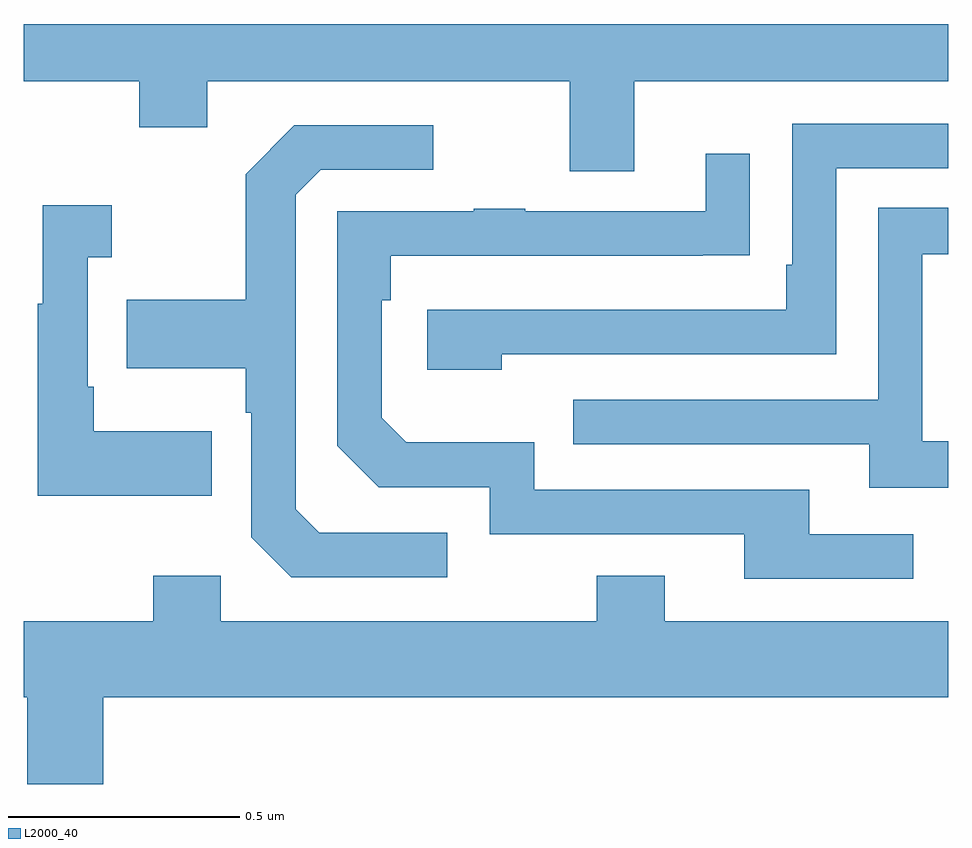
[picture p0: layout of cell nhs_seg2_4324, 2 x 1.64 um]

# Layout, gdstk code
import gdstk
lib = gdstk.Library(unit=1e-6, precision=1e-09)
def P(c, l, *ps):  # polygons
    for p in ps: c.add(gdstk.Polygon(p, *l))
L2000_40 = (2000, 40)

nhs_seg2_4324 = lib.new_cell('nhs_seg2_4324')
P(nhs_seg2_4324, L2000_40, [(166.321,607.676),(167,607.676),(167,607.8),(165,607.8),(165,607.676),(165.25,607.676),(165.25,607.577),(165.397,607.577),(165.397,607.676),(166.181,607.676),(166.181,607.482),(166.321,607.482)],
  [(166.034,607.086),(166.758,607.086),(166.758,607.488),(167,607.488),(167,607.584),(166.662,607.584),(166.662,607.279),(166.649,607.279),(166.649,607.182),(165.873,607.182),(165.873,607.052),(166.034,607.052)],
  [(165.916,606.699),(165.639,606.699),(165.588,606.75),(165.588,607.431),(165.642,607.485),(165.886,607.485),(165.886,607.581),(165.585,607.581),(165.48,607.475),(165.48,607.203),(165.223,607.203),(165.223,607.055),(165.48,607.055),(165.48,606.959),(165.492,606.959),(165.492,606.69),(165.579,606.603),(165.916,606.603)],
  [(166.924,606.696),(166.699,606.696),(166.699,606.792),(166.104,606.792),(166.104,606.895),(165.827,606.895),(165.774,606.948),(165.774,607.202),(165.794,607.202),(165.794,607.299),(166.469,607.299),(166.469,607.3),(166.571,607.3),(166.571,607.519),(166.475,607.519),(166.475,607.395),(166.085,607.395),(166.085,607.4),(165.973,607.4),(165.973,607.395),(165.678,607.395),(165.678,606.888),(165.768,606.798),(166.008,606.798),(166.008,606.696),(166.559,606.696),(166.559,606.6),(166.924,606.6)],
  [(165.407,606.919),(165.151,606.919),(165.151,607.015),(165.138,607.015),(165.138,607.295),(165.19,607.295),(165.19,607.408),(165.041,607.408),(165.041,607.195),(165.03,607.195),(165.03,606.779),(165.407,606.779)],
  [(167,606.897),(166.944,606.897),(166.944,607.302),(167,607.302),(167,607.403),(166.848,607.403),(166.848,606.987),(166.189,606.987),(166.189,606.891),(166.829,606.891),(166.829,606.797),(167,606.797)],
  [(165.172,606.344),(167,606.344),(167,606.508),(166.387,606.508),(166.387,606.607),(166.24,606.607),(166.24,606.508),(165.426,606.508),(165.426,606.607),(165.28,606.607),(165.28,606.508),(165,606.508),(165,606.344),(165.008,606.344),(165.008,606.156),(165.172,606.156)])

lib.write_gds('nhs_seg2_4324.gds')
